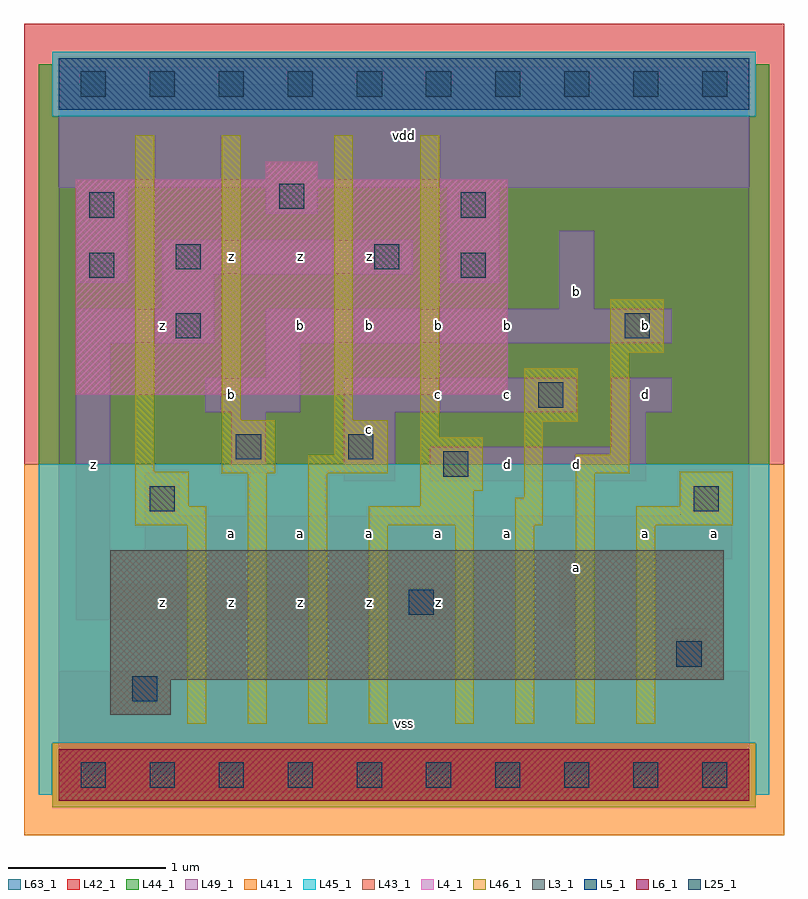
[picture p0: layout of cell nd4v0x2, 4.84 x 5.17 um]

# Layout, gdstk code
import gdstk
lib = gdstk.Library(unit=1e-6, precision=1e-09)
def R(c, l, rs):  # rectangles x0, y0, x1, y1
    for r in rs: c.add(gdstk.rectangle(r[:2], r[2:], *l))
def A(c, l, x, y, w, h, nx, ny, dx, dy):  # array of equal rectangles
    R(c, l, [(x+i*dx, y+j*dy, x+i*dx+w, y+j*dy+h) for i in range(nx) for j in range(ny)])
L3_1 = (3, 1)
L4_1 = (4, 1)
L5_1 = (5, 1)
L6_1 = (6, 1)
L25_1 = (25, 1)
L41_1 = (41, 1)
L42_1 = (42, 1)
L43_1 = (43, 1)
L44_1 = (44, 1)
L45_1 = (45, 1)
L46_1 = (46, 1)
L49_1 = (49, 1)
L63_1 = (63, 1)

nd4v0x2 = lib.new_cell('nd4v0x2')
R(nd4v0x2, L3_1, [(0.33,0.385,0.715,0.605), (0.33,0.605,4.235,1.43)])
R(nd4v0x2, L4_1, [(0.11,2.42,2.86,3.795), (1.32,3.795,1.65,3.905)])
R(nd4v0x2, L5_1, [(0,4.235,4.4,4.565)])
R(nd4v0x2, L6_1, [(0,-0.165,4.4,0.165)])
A(nd4v0x2, L25_1, 0.14, -0.08, 0.16, 0.16, 10, 2, 0.44, 4.4)
R(nd4v0x2, L25_1, [(0.47,0.47,0.63,0.63), (3.935,0.69,4.095,0.85), (2.23,1.02,2.39,1.18), (0.58,1.68,0.74,1.84), (4.045,1.68,4.205,1.84), (2.45,1.9,2.61,2.06), (1.13,2.01,1.29,2.17), (1.845,2.01,2.005,2.17), (3.055,2.34,3.215,2.5), (0.745,2.78,0.905,2.94), (3.605,2.78,3.765,2.94), (0.195,3.165,0.355,3.325), (2.56,3.165,2.72,3.325), (0.745,3.22,0.905,3.38), (2.01,3.22,2.17,3.38), (0.195,3.55,0.355,3.71), (2.56,3.55,2.72,3.71), (1.405,3.605,1.565,3.765)])
R(nd4v0x2, L41_1, [(-0.22,-0.385,4.62,1.98)])
R(nd4v0x2, L42_1, [(-0.22,1.98,4.62,4.785)])
R(nd4v0x2, L43_1, [(0,-0.165,4.4,0.165), (0.33,0.385,0.715,0.605), (0.33,0.605,4.235,1.43), (0.11,2.42,2.86,3.795), (1.32,3.795,1.65,3.905), (0,4.235,4.4,4.565)])
R(nd4v0x2, L44_1, [(-0.04,-0.205,4.44,0.205), (-0.125,1.98,4.525,4.195), (-0.125,4.195,-0.04,4.525), (4.44,4.195,4.525,4.525)])
R(nd4v0x2, L45_1, [(-0.125,-0.125,-0.04,0.205), (4.44,-0.125,4.525,0.205), (-0.125,0.205,4.525,1.98), (-0.04,4.195,4.44,4.605)])
R(nd4v0x2, L46_1, [(0.82,0.325,0.94,1.59), (1.205,0.325,1.325,1.92), (1.59,0.325,1.71,1.92), (1.975,0.325,2.095,1.59), (2.525,0.325,2.645,1.59), (2.91,0.325,3.03,1.59), (3.295,0.325,3.415,1.92), (3.68,0.325,3.8,1.59), (0.49,1.59,0.94,1.71), (1.975,1.59,2.645,1.71), (2.91,1.59,3.085,1.765), (3.68,1.59,4.295,1.71), (0.49,1.71,0.83,1.93), (2.305,1.71,2.645,1.81), (3.955,1.71,4.295,1.93), (2.965,1.765,3.085,2.25), (2.305,1.81,2.7,2.15), (1.04,1.92,1.38,2.26), (1.59,1.92,2.095,2.04), (3.295,1.92,3.635,2.04), (0.49,1.93,0.61,4.075), (1.755,2.04,2.095,2.26), (3.515,2.04,3.635,2.69), (2.305,2.15,2.425,4.075), (2.965,2.25,3.305,2.59), (1.04,2.26,1.16,4.075), (1.755,2.26,1.875,4.075), (3.515,2.69,3.855,3.03)])
R(nd4v0x2, L49_1, [(0,-0.11,4.4,0.66), (3.905,0.66,4.125,0.935), (3.19,0.935,3.41,1.375), (0.11,0.99,2.585,1.21), (0.11,1.21,0.33,2.75), (3.19,1.375,4.29,1.43), (0.55,1.43,4.29,1.65), (0.55,1.65,0.77,1.925), (3.96,1.65,4.29,1.925), (1.815,1.87,2.145,2.31), (2.365,1.87,3.74,2.09), (1.1,1.925,1.32,2.31), (3.52,2.09,3.74,2.31), (0.935,2.31,1.54,2.53), (1.815,2.31,3.3,2.53), (3.52,2.31,3.905,2.53), (1.32,2.53,1.54,2.75), (0.11,2.75,0.99,2.97), (1.32,2.75,3.905,2.97), (0.66,2.97,0.99,3.19), (3.19,2.97,3.41,3.465), (0.11,3.135,0.44,3.74), (2.475,3.135,2.805,3.74), (0.66,3.19,2.255,3.41), (1.32,3.575,1.65,3.74), (0,3.74,4.4,4.51)])
R(nd4v0x2, L63_1, [(0,0,4.4,4.4)])
nd4v0x2.add(gdstk.Label('z', (0.22,1.98), layer=49, texttype=1))
nd4v0x2.add(gdstk.Label('z', (0.66,1.1), layer=49, texttype=1))
nd4v0x2.add(gdstk.Label('z', (1.1,1.1), layer=49, texttype=1))
nd4v0x2.add(gdstk.Label('a', (1.1,1.54), layer=49, texttype=1))
nd4v0x2.add(gdstk.Label('z', (1.54,1.1), layer=49, texttype=1))
nd4v0x2.add(gdstk.Label('a', (1.54,1.54), layer=49, texttype=1))
nd4v0x2.add(gdstk.Label('b', (1.1,2.42), layer=49, texttype=1))
nd4v0x2.add(gdstk.Label('b', (1.54,2.86), layer=49, texttype=1))
nd4v0x2.add(gdstk.Label('z', (0.66,2.86), layer=49, texttype=1))
nd4v0x2.add(gdstk.Label('z', (1.1,3.3), layer=49, texttype=1))
nd4v0x2.add(gdstk.Label('z', (1.54,3.3), layer=49, texttype=1))
nd4v0x2.add(gdstk.Label('vss', (2.2,0.33), layer=49, texttype=1))
nd4v0x2.add(gdstk.Label('z', (1.98,1.1), layer=49, texttype=1))
nd4v0x2.add(gdstk.Label('a', (1.98,1.54), layer=49, texttype=1))
nd4v0x2.add(gdstk.Label('z', (2.42,1.1), layer=49, texttype=1))
nd4v0x2.add(gdstk.Label('a', (2.42,1.54), layer=49, texttype=1))
nd4v0x2.add(gdstk.Label('c', (1.98,2.2), layer=49, texttype=1))
nd4v0x2.add(gdstk.Label('c', (2.42,2.42), layer=49, texttype=1))
nd4v0x2.add(gdstk.Label('b', (1.98,2.86), layer=49, texttype=1))
nd4v0x2.add(gdstk.Label('b', (2.42,2.86), layer=49, texttype=1))
nd4v0x2.add(gdstk.Label('z', (1.98,3.3), layer=49, texttype=1))
nd4v0x2.add(gdstk.Label('vdd', (2.2,4.07), layer=49, texttype=1))
nd4v0x2.add(gdstk.Label('a', (2.86,1.54), layer=49, texttype=1))
nd4v0x2.add(gdstk.Label('a', (3.3,1.32), layer=49, texttype=1))
nd4v0x2.add(gdstk.Label('d', (2.86,1.98), layer=49, texttype=1))
nd4v0x2.add(gdstk.Label('c', (2.86,2.42), layer=49, texttype=1))
nd4v0x2.add(gdstk.Label('d', (3.3,1.98), layer=49, texttype=1))
nd4v0x2.add(gdstk.Label('b', (2.86,2.86), layer=49, texttype=1))
nd4v0x2.add(gdstk.Label('b', (3.3,3.08), layer=49, texttype=1))
nd4v0x2.add(gdstk.Label('a', (3.74,1.54), layer=49, texttype=1))
nd4v0x2.add(gdstk.Label('a', (4.18,1.54), layer=49, texttype=1))
nd4v0x2.add(gdstk.Label('d', (3.74,2.42), layer=49, texttype=1))
nd4v0x2.add(gdstk.Label('b', (3.74,2.86), layer=49, texttype=1))

lib.write_gds('nd4v0x2.gds')
